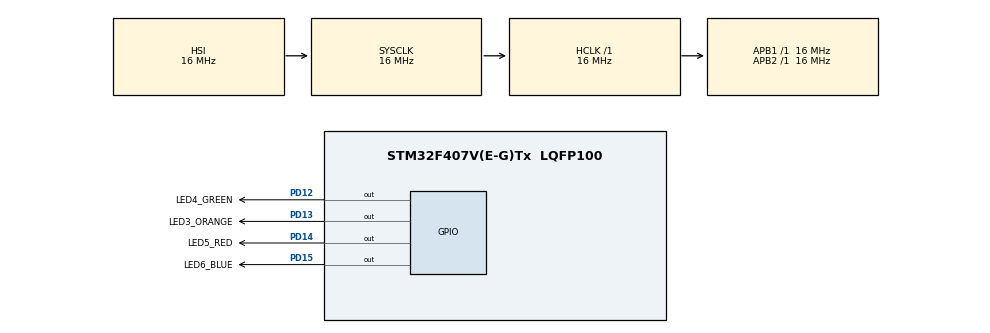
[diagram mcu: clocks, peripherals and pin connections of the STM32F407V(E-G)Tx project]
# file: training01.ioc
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Mcu.Family=STM32F4
Mcu.Name=STM32F407V(E-G)Tx
Mcu.Package=LQFP100
NVIC.PriorityGroup=NVIC_PRIORITYGROUP_4
PA13.Mode=Serial_Wire
PA13.Signal=SYS_JTMS-SWDIO
PA14.Mode=Serial_Wire
PA14.Signal=SYS_JTCK-SWCLK
PD12.GPIO_Label=LED4_GREEN
PD12.Signal=GPIO_Output
PD13.GPIO_Label=LED3_ORANGE
PD13.Signal=GPIO_Output
PD14.GPIO_Label=LED5_RED
PD14.Signal=GPIO_Output
PD15.GPIO_Label=LED6_BLUE
PD15.Signal=GPIO_Output
ProjectManager.HeapSize=0x200
ProjectManager.StackSize=0x400
ProjectManager.TargetToolchain=STM32CubeIDE
RCC.AHBFreq_Value=16000000
RCC.APB1Freq_Value=16000000
RCC.APB2Freq_Value=16000000
RCC.CortexFreq_Value=16000000
RCC.HSE_VALUE=25000000
RCC.HSI_VALUE=16000000
RCC.LSE_VALUE=32768
RCC.SYSCLKFreq_VALUE=16000000
RCC.VCOOutputFreq_Value=192000000
board=custom

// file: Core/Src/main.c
/* USER CODE BEGIN Header */
/**
  ******************************************************************************
  * @file           : main.c
  * @brief          : Main program body
  ******************************************************************************
  * @attention
  *
  * <h2><center>&copy; Copyright (c) 2021 STMicroelectronics.
  * All rights reserved.</center></h2>
  *
  * This software component is licensed by ST under BSD 3-Clause license,
  * the "License"; You may not use this file except in compliance with the
  * License. You may obtain a copy of the License at:
  *                        opensource.org/licenses/BSD-3-Clause
  *
  ******************************************************************************
  */
/* USER CODE END Header */
#include "main.h"

/* USER CODE BEGIN PD */
#define GET_PIN_STATE(state, bit) ((state & (1 << bit)) != 0)
/* USER CODE END PD */

/* USER CODE BEGIN PV */
#define LED_ANIMATION_DELAY 125
#define LED_ANIMATION_LEN 8
uint8_t ledAnimation[LED_ANIMATION_LEN] = {
	0b0000, 0b0001, 0b0011, 0b0111, 0b1111, 0b1110, 0b1100, 0b1000
};
uint16_t ledsPin[4] = {LED3_ORANGE_Pin, LED4_GREEN_Pin, LED6_BLUE_Pin, LED5_RED_Pin};
uint8_t ledAnimationStep = 0;
/* USER CODE END PV */

void SystemClock_Config(void);
static void MX_GPIO_Init(void);

int main(void)
{

  /* MCU Configuration--------------------------------------------------------*/

  /* Reset of all peripherals, Initializes the Flash interface and the Systick. */
  HAL_Init();

  /* Configure the system clock */
  SystemClock_Config();

  /* Initialize all configured peripherals */
  MX_GPIO_Init();

  /* Infinite loop */
  /* USER CODE BEGIN WHILE */
  while (1)
  {
	  ledAnimationStep += 1;
	  if (ledAnimationStep >= LED_ANIMATION_LEN)
		  ledAnimationStep = 0;

	  uint8_t ledState = ledAnimation[ledAnimationStep];
	  for (uint8_t i = 0; i<4; i++)
		  HAL_GPIO_WritePin(GPIOD, ledsPin[i], GET_PIN_STATE(ledState, i));

	  HAL_Delay(LED_ANIMATION_DELAY);
    /* USER CODE END WHILE */

  }
}

void SystemClock_Config(void)
{
  RCC_OscInitTypeDef RCC_OscInitStruct = {0};
  RCC_ClkInitTypeDef RCC_ClkInitStruct = {0};

  /** Configure the main internal regulator output voltage
  */
  __HAL_RCC_PWR_CLK_ENABLE();
  __HAL_PWR_VOLTAGESCALING_CONFIG(PWR_REGULATOR_VOLTAGE_SCALE1);
  /** Initializes the RCC Oscillators according to the specified parameters
  * in the RCC_OscInitTypeDef structure.
  */
  RCC_OscInitStruct.OscillatorType = RCC_OSCILLATORTYPE_HSI;
  RCC_OscInitStruct.HSIState = RCC_HSI_ON;
  RCC_OscInitStruct.HSICalibrationValue = RCC_HSICALIBRATION_DEFAULT;
  RCC_OscInitStruct.PLL.PLLState = RCC_PLL_NONE;
  if (HAL_RCC_OscConfig(&RCC_OscInitStruct) != HAL_OK)
  {
    Error_Handler();
  }
  /** Initializes the CPU, AHB and APB buses clocks
  */
  RCC_ClkInitStruct.ClockType = RCC_CLOCKTYPE_HCLK|RCC_CLOCKTYPE_SYSCLK
                              |RCC_CLOCKTYPE_PCLK1|RCC_CLOCKTYPE_PCLK2;
  RCC_ClkInitStruct.SYSCLKSource = RCC_SYSCLKSOURCE_HSI;
  RCC_ClkInitStruct.AHBCLKDivider = RCC_SYSCLK_DIV1;
  RCC_ClkInitStruct.APB1CLKDivider = RCC_HCLK_DIV1;
  RCC_ClkInitStruct.APB2CLKDivider = RCC_HCLK_DIV1;

  if (HAL_RCC_ClockConfig(&RCC_ClkInitStruct, FLASH_LATENCY_0) != HAL_OK)
  {
    Error_Handler();
  }
}

static void MX_GPIO_Init(void)
{
  GPIO_InitTypeDef GPIO_InitStruct = {0};

  /* GPIO Ports Clock Enable */
  __HAL_RCC_GPIOD_CLK_ENABLE();
  __HAL_RCC_GPIOA_CLK_ENABLE();

  /*Configure GPIO pin Output Level */
  HAL_GPIO_WritePin(GPIOD, LED4_GREEN_Pin|LED3_ORANGE_Pin|LED5_RED_Pin|LED6_BLUE_Pin, GPIO_PIN_RESET);

  /*Configure GPIO pins : LED4_GREEN_Pin LED3_ORANGE_Pin LED5_RED_Pin LED6_BLUE_Pin */
  GPIO_InitStruct.Pin = LED4_GREEN_Pin|LED3_ORANGE_Pin|LED5_RED_Pin|LED6_BLUE_Pin;
  GPIO_InitStruct.Mode = GPIO_MODE_OUTPUT_PP;
  GPIO_InitStruct.Pull = GPIO_NOPULL;
  GPIO_InitStruct.Speed = GPIO_SPEED_FREQ_LOW;
  HAL_GPIO_Init(GPIOD, &GPIO_InitStruct);

}

void Error_Handler(void)
{
  __disable_irq();
  while (1)
  {
  }
}

/************************ (C) COPYRIGHT STMicroelectronics *****END OF FILE****/
